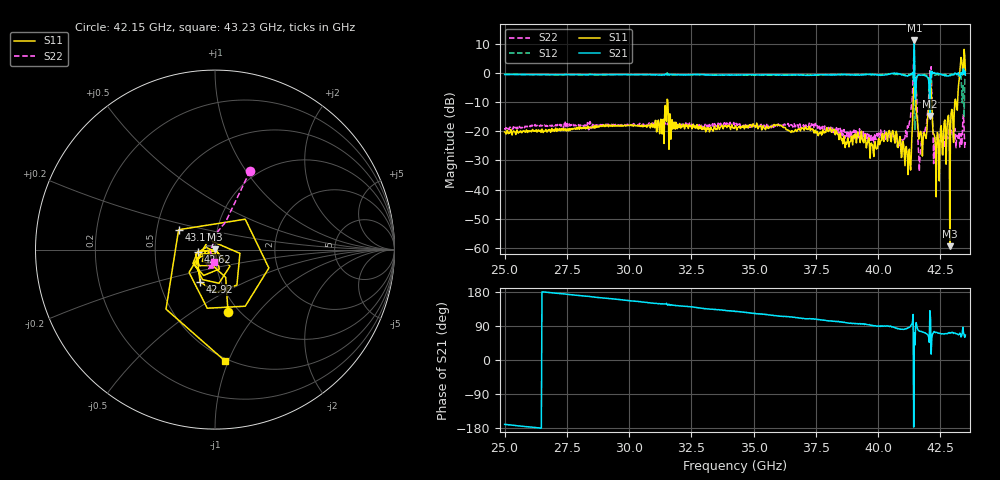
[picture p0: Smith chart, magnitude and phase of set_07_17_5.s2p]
!Keysight Technologies,N5224A,MY55441802,A.10.65.16
!Date: Tuesday, March 03, 2026 17:17:50
!Correction: S11(Full 2 Port(1,2))
!S21(Full 2 Port(1,2))
!S12(Full 2 Port(1,2))
!S22(Full 2 Port(1,2))
!S2P File: Measurements: S11, S21, S12, S22:
# Hz S  dB  R 50
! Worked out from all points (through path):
!   741 points, 25 GHz to 43.5 GHz, reference 50 ohm
!   highest |S21| = 11.23 dB at 41.45 GHz (marker M1); lowest = -14.7 dB at 42.08 GHz (marker M2)
!   lowest |S11| = -59.5 dB at 42.88 GHz (marker M3), VSWR 1.00, Z = 50 + j0.105 ohm
!   |S11| at or under -10 dB: start of sweep to 31.52 GHz; 31.55 GHz to 41.4 GHz (9.849 GHz wide, 27 % of centre); 42.15 GHz to 43.07 GHz (919.3 MHz wide, 2.16 % of centre)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
!   |S22| runs from -33.7 to 6.3 dB; largest |S21 - S12| = 3.5
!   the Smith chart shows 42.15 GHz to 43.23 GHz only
!   S11 on the Smith chart (normalised r, x): 42.15 GHz: 0.89, -0.71; 42.62 GHz: 0.82, -0.02; 42.92 GHz: 0.80, -0.30; 43.17 GHz: 0.65, +0.15; 43.23 GHz: 0.48, -0.97
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2.5e10  -20.19 -85.0  -0.46 -169.9  -0.47 -170.2  -18.93 -90.2
2.81e10  -19.12 -99.6  -0.54 169.3  -0.52 169.1  -18.19 -106.4
3.1175e10  -16.15 -115.8  -0.65 148.5  -0.55 148.5  -16.63 -115.6
3.425e10  -18.47 -135.9  -0.59 128.1  -0.53 127.8  -18.16 -125.5
3.735e10  -19.50 -138.2  -0.68 108.7  -0.64 107.8  -18.21 -128.2
4.0425e10  -19.99 -151.4  -0.36 89.7  -0.33 86.7  -21.51 -96.6
4.125e10  -26.12 166.7  -0.77 86.7  -0.43 83.3  -16.82 -102.3
4.145e10  -5.48 106.4  11.23 71.9  -14.70 36.4  6.25 -98.5
4.155e10  -14.66 -48.4  -1.26 90.8  -1.39 94.2  -9.07 55.7
4.1675e10  -20.60 -117.8  -0.65 75.7  -0.49 78.2  -28.00 -90.8
4.185e10  -20.71 -71.0  -0.72 72.2  -0.46 73.6  -21.12 -66.0
4.2075e10  -5.48 -148.5  -14.71 130.1  -11.13 44.3  0.82 -72.5
4.215e10  -9.02 -78.2  0.67 55.6  0.18 52.7  -6.39 66.0
4.225e10  -21.22 -92.9  0.20 75.2  -0.49 72.0  -22.58 -92.6
4.2375e10  -20.37 -137.6  0.03 72.0  -0.44 72.4  -21.32 -96.3
4.2625e10  -20.26 -173.1  -0.61 68.6  -0.48 70.1  -21.74 -99.0
4.2875e10  -59.47 98.8  -0.81 70.8  -0.61 70.2  -21.83 -99.5
4.2925e10  -14.05 -114.8  -0.70 72.4  -0.32 66.7  -19.62 -95.9
4.3175e10  -12.73 151.4  -0.32 68.6  -0.12 66.9  -21.44 -78.1
4.3225e10  -4.14 -85.1  0.15 66.4  -1.20 53.1  -22.87 -95.6
4.34e10  -0.58 -76.9  0.80 86.5  -3.79 97.5  -15.75 52.7
4.35e10  0.64 -54.9  -0.70 65.9  -2.60 51.4  -23.69 -84.2
